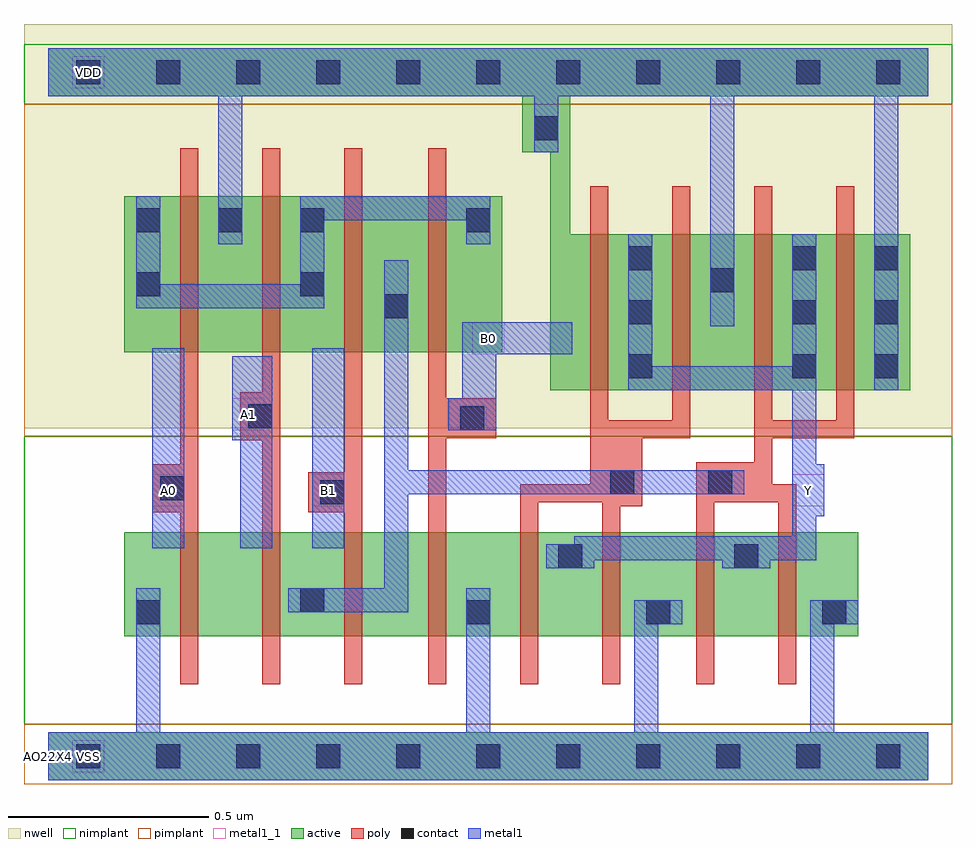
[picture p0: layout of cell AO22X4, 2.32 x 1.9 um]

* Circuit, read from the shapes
.subckt AO22X4 A0 A1 B0 B1 VDD VSS Y
M1 n1 A0 VSS VSS nfet w=0.26u l=0.045u
M2 n2 A1 n1 VSS nfet w=0.26u l=0.045u
M3 n3 B1 n2 VSS nfet w=0.26u l=0.045u
M4 VSS B0 n3 VSS nfet w=0.26u l=0.045u
M5 Y n2 VSS VSS nfet w=0.26u l=0.045u m=4
M6 VDD A0 n4 VDD pfet w=0.39u l=0.045u
M7 n4 A1 VDD VDD pfet w=0.39u l=0.045u
M8 n2 B1 n4 VDD pfet w=0.39u l=0.045u
M9 n4 B0 n2 VDD pfet w=0.39u l=0.045u
M10 Y n2 VDD VDD pfet w=0.39u l=0.045u m=4
.ends

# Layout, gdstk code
import gdstk
lib = gdstk.Library(unit=1e-6, precision=5e-10)
def R(c, l, rs):  # rectangles x0, y0, x1, y1
    for r in rs: c.add(gdstk.rectangle(r[:2], r[2:], *l))
def A(c, l, x, y, w, h, nx, ny, dx, dy):  # array of equal rectangles
    R(c, l, [(x+i*dx, y+j*dy, x+i*dx+w, y+j*dy+h) for i in range(nx) for j in range(ny)])
def P(c, l, *ps):  # polygons
    for p in ps: c.add(gdstk.Polygon(p, *l))
active = (1, 0)
nwell = (2, 0)
poly = (3, 0)
nimplant = (4, 0)
pimplant = (5, 0)
contact = (6, 0)
metal1 = (7, 0)
metal1_1 = (7, 1)

ao22x4 = lib.new_cell('AO22X4')
R(ao22x4, active, [(0,-0.06,2.2,0.06), (0.19,0.3,2.025,0.56), (0.19,1.01,1.135,1.4)])
P(ao22x4, active, [(0,1.77),(2.2,1.77),(2.2,1.65),(1.305,1.65),(1.305,1.305),(2.155,1.305),(2.155,0.915),(1.255,0.915),(1.255,1.51),(1.185,1.51),(1.185,1.65),(0,1.65)])
R(ao22x4, nwell, [(-0.06,0.82,2.26,1.83)])
P(ao22x4, poly, [(0.33,1.52),(0.375,1.52),(0.375,0.18),(0.33,0.18),(0.33,0.61),(0.26,0.61),(0.26,0.73),(0.33,0.73)],
  [(0.535,1.52),(0.58,1.52),(0.58,0.18),(0.535,0.18),(0.535,0.79),(0.48,0.79),(0.48,0.91),(0.535,0.91)],
  [(0.74,1.52),(0.785,1.52),(0.785,0.18),(0.74,0.18),(0.74,0.61),(0.65,0.61),(0.65,0.71),(0.74,0.71)],
  [(0.95,1.52),(0.995,1.52),(0.995,0.895),(1.12,0.895),(1.12,0.795),(0.995,0.795),(0.995,0.18),(0.95,0.18)],
  [(1.355,1.425),(1.4,1.425),(1.4,0.84),(1.56,0.84),(1.56,1.425),(1.605,1.425),(1.605,0.795),(1.485,0.795),(1.485,0.625),(1.43,0.625),(1.43,0.18),(1.385,0.18),(1.385,0.635),(1.225,0.635),(1.225,0.18),(1.18,0.18),(1.18,0.68),(1.355,0.68)],
  [(1.765,1.425),(1.81,1.425),(1.81,0.84),(1.97,0.84),(1.97,1.425),(2.015,1.425),(2.015,0.795),(1.81,0.795),(1.81,0.68),(1.87,0.68),(1.87,0.18),(1.825,0.18),(1.825,0.635),(1.665,0.635),(1.665,0.18),(1.62,0.18),(1.62,0.735),(1.765,0.735)])
R(ao22x4, nimplant, [(-0.06,0.08,2.26,0.8), (-0.06,1.63,2.26,1.78)])
R(ao22x4, pimplant, [(-0.06,-0.07,2.26,0.08), (-0.06,0.8,2.26,1.63)])
A(ao22x4, contact, 0.07, -0.03, 0.06, 0.06, 11, 2, 0.2, 1.71)
A(ao22x4, contact, 1.45, 0.945, 0.06, 0.06, 1, 3, 0, 0.135)
A(ao22x4, contact, 1.86, 0.945, 0.06, 0.06, 1, 3, 0, 0.135)
A(ao22x4, contact, 2.065, 0.945, 0.06, 0.06, 1, 3, 0, 0.135)
A(ao22x4, contact, 0.22, 1.31, 0.06, 0.06, 3, 1, 0.205, 0)
R(ao22x4, contact, [(0.22,0.33,0.28,0.39), (1.045,0.33,1.105,0.39), (1.495,0.33,1.555,0.39), (1.935,0.33,1.995,0.39), (0.63,0.36,0.69,0.42), (1.275,0.47,1.335,0.53), (1.715,0.47,1.775,0.53), (0.68,0.63,0.74,0.69), (0.28,0.64,0.34,0.7), (1.405,0.655,1.465,0.715), (1.65,0.655,1.71,0.715), (1.03,0.815,1.09,0.875), (0.5,0.82,0.56,0.88), (0.84,1.095,0.9,1.155), (0.22,1.15,0.28,1.21), (0.63,1.15,0.69,1.21), (1.655,1.16,1.715,1.22), (1.045,1.31,1.105,1.37), (1.215,1.54,1.275,1.6)])
R(ao22x4, metal1, [(0.26,0.52,0.34,1.02), (0.66,0.52,0.74,1.02)])
P(ao22x4, metal1, [(0,1.77),(2.2,1.77),(2.2,1.65),(2.125,1.65),(2.125,0.915),(2.065,0.915),(2.065,1.65),(1.715,1.65),(1.715,1.075),(1.655,1.075),(1.655,1.65),(1.275,1.65),(1.275,1.51),(1.215,1.51),(1.215,1.65),(0.485,1.65),(0.485,1.28),(0.425,1.28),(0.425,1.65),(0,1.65)],
  [(0.22,1.4),(0.28,1.4),(0.28,1.18),(0.63,1.18),(0.63,1.4),(1.105,1.4),(1.105,1.28),(1.045,1.28),(1.045,1.34),(0.69,1.34),(0.69,1.12),(0.22,1.12)],
  [(0.84,1.24),(0.9,1.24),(0.9,0.715),(1.74,0.715),(1.74,0.655),(0.9,0.655),(0.9,0.36),(0.6,0.36),(0.6,0.42),(0.84,0.42)],
  [(1.45,1.305),(1.51,1.305),(1.51,0.975),(1.86,0.975),(1.86,1.305),(1.92,1.305),(1.92,0.73),(1.94,0.73),(1.94,0.6),(1.92,0.6),(1.92,0.49),(1.805,0.49),(1.805,0.47),(1.685,0.47),(1.685,0.49),(1.365,0.49),(1.365,0.47),(1.245,0.47),(1.245,0.53),(1.315,0.53),(1.315,0.55),(1.86,0.55),(1.86,0.915),(1.45,0.915)],
  [(0.46,1),(0.56,1),(0.56,0.52),(0.48,0.52),(0.48,0.79),(0.46,0.79)],
  [(1.035,1.085),(1.31,1.085),(1.31,1.005),(1.12,1.005),(1.12,0.815),(1,0.815),(1,0.895),(1.035,0.895)],
  [(0.22,0.42),(0.28,0.42),(0.28,0.06),(1.045,0.06),(1.045,0.42),(1.105,0.42),(1.105,0.06),(1.465,0.06),(1.465,0.39),(1.585,0.39),(1.585,0.33),(1.525,0.33),(1.525,0.06),(1.905,0.06),(1.905,0.39),(2.025,0.39),(2.025,0.33),(1.965,0.33),(1.965,0.06),(2.2,0.06),(2.2,-0.06),(0,-0.06),(0,0.06),(0.22,0.06)])
R(ao22x4, metal1_1, [(0.06,-0.04,0.14,0.04), (0.26,0.625,0.34,0.705), (0.66,0.625,0.74,0.705), (1.86,0.625,1.94,0.705), (0.46,0.815,0.54,0.895), (1.06,1.005,1.14,1.085), (0.06,1.67,0.14,1.75)])
ao22x4.add(gdstk.Label('Y', (1.9,0.665), layer=7, texttype=1))
ao22x4.add(gdstk.Label('B0', (1.1,1.045), layer=7, texttype=1))
ao22x4.add(gdstk.Label('A0', (0.3,0.665), layer=7, texttype=1))
ao22x4.add(gdstk.Label('B1', (0.7,0.665), layer=7, texttype=1))
ao22x4.add(gdstk.Label('A1', (0.5,0.855), layer=7, texttype=1))
ao22x4.add(gdstk.Label('VDD', (0.1,1.71), layer=7, texttype=1))
ao22x4.add(gdstk.Label('VSS', (0.1,0), layer=7, texttype=1))
ao22x4.add(gdstk.Label('AO22X4', (0,0), layer=63, texttype=0))

lib.write_gds('AO22X4.gds')
